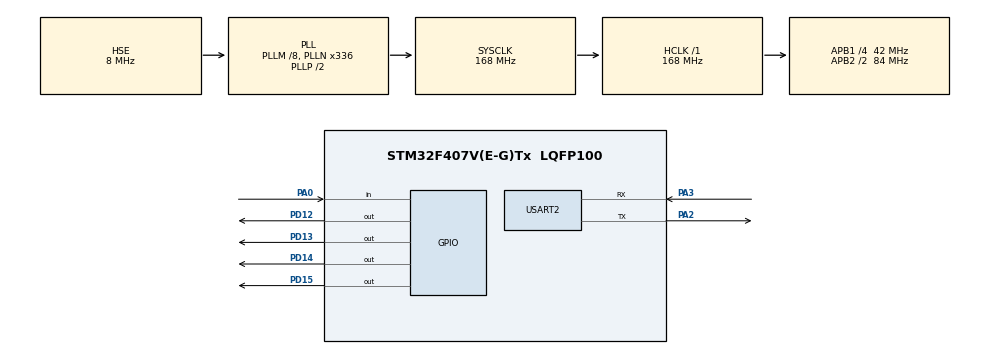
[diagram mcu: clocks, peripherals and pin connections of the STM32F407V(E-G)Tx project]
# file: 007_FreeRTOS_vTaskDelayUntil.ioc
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FREERTOS.Tasks01=defaultTask,24,128,StartDefaultTask,Default,NULL,Dynamic,NULL,NULL
FREERTOS.configUSE_NEWLIB_REENTRANT=1
Mcu.Family=STM32F4
Mcu.Name=STM32F407V(E-G)Tx
Mcu.Package=LQFP100
NVIC.PriorityGroup=NVIC_PRIORITYGROUP_4
NVIC.TIM8_TRG_COM_TIM14_IRQn=true\:15\:0\:false\:false\:true\:false\:false\:true\:true
NVIC.TimeBase=TIM8_TRG_COM_TIM14_IRQn
NVIC.TimeBaseIP=TIM14
PA0-WKUP.Signal=GPIO_Input
PA2.Mode=Asynchronous
PA2.Signal=USART2_TX
PA3.Mode=Asynchronous
PA3.Signal=USART2_RX
PD12.Signal=GPIO_Output
PD13.Signal=GPIO_Output
PD14.Signal=GPIO_Output
PD15.Signal=GPIO_Output
PH0-OSC_IN.Mode=HSE-External-Oscillator
PH0-OSC_IN.Signal=RCC_OSC_IN
PH1-OSC_OUT.Mode=HSE-External-Oscillator
PH1-OSC_OUT.Signal=RCC_OSC_OUT
ProjectManager.HeapSize=0x200
ProjectManager.StackSize=0x400
ProjectManager.TargetToolchain=STM32CubeIDE
RCC.48MHZClocksFreq_Value=48000000
RCC.AHBFreq_Value=168000000
RCC.APB1CLKDivider=RCC_HCLK_DIV4
RCC.APB1Freq_Value=42000000
RCC.APB1TimFreq_Value=84000000
RCC.APB2CLKDivider=RCC_HCLK_DIV2
RCC.APB2Freq_Value=84000000
RCC.APB2TimFreq_Value=168000000
RCC.CortexFreq_Value=168000000
RCC.HCLKFreq_Value=168000000
RCC.HSE_VALUE=8000000
RCC.HSI_VALUE=16000000
RCC.LSE_VALUE=32768
RCC.PLLM=8
RCC.PLLN=336
RCC.PLLQ=7
RCC.PLLSourceVirtual=RCC_PLLSOURCE_HSE
RCC.SYSCLKFreq_VALUE=168000000
RCC.SYSCLKSource=RCC_SYSCLKSOURCE_PLLCLK
RCC.VCOOutputFreq_Value=336000000
USART2.VirtualMode=VM_ASYNC
VP_FREERTOS_VS_CMSIS_V2.Mode=CMSIS_V2
VP_SYS_VS_tim14.Mode=TIM14
board=STM32F407G-DISC1

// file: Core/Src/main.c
/* USER CODE BEGIN Header */
/**
  ******************************************************************************
  * @file           : main.c
  * @brief          : Main program body
  ******************************************************************************
  * @attention
  *
  * Copyright (c) 2023 STMicroelectronics.
  * All rights reserved.
  *
  * This software is licensed under terms that can be found in the LICENSE file
  * in the root directory of this software component.
  * If no LICENSE file comes with this software, it is provided AS-IS.
  *
  ******************************************************************************
  */
/* USER CODE END Header */
#include "main.h"
#include "cmsis_os.h"

/* USER CODE BEGIN Includes */
#include "FreeRTOS.h"
#include "task.h"
/* USER CODE END Includes */

UART_HandleTypeDef huart2;

/* Definitions for defaultTask */
//osThreadId_t defaultTaskHandle;
//const osThreadAttr_t defaultTask_attributes = {
//  .name = "defaultTask",
//  .stack_size = 128 * 4,
//  .priority = (osPriority_t) osPriorityNormal,
//};

void SystemClock_Config(void);
static void MX_GPIO_Init(void);
static void MX_USART2_UART_Init(void);
void StartDefaultTask(void *argument);

/* USER CODE BEGIN 0 */
void vTask2(void * pvParameters)
{
	char *GorevAdi = (char *) pvParameters;
	TickType_t xLastWakeTime;
	xLastWakeTime = xTaskGetTickCount();
	for(;;)
	{
		HAL_UART_Transmit(&huart2, (uint8_t *)GorevAdi, 19, 0xFFFF);
		vTaskDelayUntil(&xLastWakeTime, pdMS_TO_TICKS(250));
	}
}
void vTask1(void * pvParameters)
{
	char *GorevAdi = (char *)pvParameters;
	const TickType_t xDelay250ms = pdMS_TO_TICKS(250);
	for(;;)
	{
		HAL_UART_Transmit(&huart2, (uint8_t *)GorevAdi, 19, 0xFFFF);
		vTaskDelay(xDelay250ms);
	}
}

/* USER CODE END 0 */

int main(void)
{
  /* USER CODE BEGIN 1 */
  static const char *Gorev1Metin = "Gorev 1 calisiyor\r\n";
  static const char *Gorev2Metin = "Gorev 2 calisiyor\r\n";
  /* USER CODE END 1 */

  /* MCU Configuration--------------------------------------------------------*/

  /* Reset of all peripherals, Initializes the Flash interface and the Systick. */
  HAL_Init();

  /* Configure the system clock */
  SystemClock_Config();

  /* Initialize all configured peripherals */
  MX_GPIO_Init();
  MX_USART2_UART_Init();
  /* USER CODE BEGIN 2 */
  xTaskCreate(vTask1, "Task 1", configMINIMAL_STACK_SIZE, (void*)Gorev1Metin, 1, NULL);
  xTaskCreate(vTask2, "Task 2", configMINIMAL_STACK_SIZE, (void*)Gorev2Metin, 2, NULL);
  vTaskStartScheduler();
  /* USER CODE END 2 */

  /* Init scheduler */
  //osKernelInitialize();

  /* Create the thread(s) */
  /* creation of defaultTask */
  //defaultTaskHandle = osThreadNew(StartDefaultTask, NULL, &defaultTask_attributes);

  /* Start scheduler */
  //osKernelStart();
  /* We should never get here as control is now taken by the scheduler */
  /* Infinite loop */
  while (1)
  {

  }
}

void SystemClock_Config(void)
{
  RCC_OscInitTypeDef RCC_OscInitStruct = {0};
  RCC_ClkInitTypeDef RCC_ClkInitStruct = {0};

  /** Configure the main internal regulator output voltage
  */
  __HAL_RCC_PWR_CLK_ENABLE();
  __HAL_PWR_VOLTAGESCALING_CONFIG(PWR_REGULATOR_VOLTAGE_SCALE1);

  /** Initializes the RCC Oscillators according to the specified parameters
  * in the RCC_OscInitTypeDef structure.
  */
  RCC_OscInitStruct.OscillatorType = RCC_OSCILLATORTYPE_HSE;
  RCC_OscInitStruct.HSEState = RCC_HSE_ON;
  RCC_OscInitStruct.PLL.PLLState = RCC_PLL_ON;
  RCC_OscInitStruct.PLL.PLLSource = RCC_PLLSOURCE_HSE;
  RCC_OscInitStruct.PLL.PLLM = 8;
  RCC_OscInitStruct.PLL.PLLN = 336;
  RCC_OscInitStruct.PLL.PLLP = RCC_PLLP_DIV2;
  RCC_OscInitStruct.PLL.PLLQ = 7;
  if (HAL_RCC_OscConfig(&RCC_OscInitStruct) != HAL_OK)
  {
    Error_Handler();
  }

  /** Initializes the CPU, AHB and APB buses clocks
  */
  RCC_ClkInitStruct.ClockType = RCC_CLOCKTYPE_HCLK|RCC_CLOCKTYPE_SYSCLK
                              |RCC_CLOCKTYPE_PCLK1|RCC_CLOCKTYPE_PCLK2;
  RCC_ClkInitStruct.SYSCLKSource = RCC_SYSCLKSOURCE_PLLCLK;
  RCC_ClkInitStruct.AHBCLKDivider = RCC_SYSCLK_DIV1;
  RCC_ClkInitStruct.APB1CLKDivider = RCC_HCLK_DIV4;
  RCC_ClkInitStruct.APB2CLKDivider = RCC_HCLK_DIV2;

  if (HAL_RCC_ClockConfig(&RCC_ClkInitStruct, FLASH_LATENCY_5) != HAL_OK)
  {
    Error_Handler();
  }
}

static void MX_USART2_UART_Init(void)
{

  huart2.Instance = USART2;
  huart2.Init.BaudRate = 115200;
  huart2.Init.WordLength = UART_WORDLENGTH_8B;
  huart2.Init.StopBits = UART_STOPBITS_1;
  huart2.Init.Parity = UART_PARITY_NONE;
  huart2.Init.Mode = UART_MODE_TX_RX;
  huart2.Init.HwFlowCtl = UART_HWCONTROL_NONE;
  huart2.Init.OverSampling = UART_OVERSAMPLING_16;
  if (HAL_UART_Init(&huart2) != HAL_OK)
  {
    Error_Handler();
  }

}

static void MX_GPIO_Init(void)
{
  GPIO_InitTypeDef GPIO_InitStruct = {0};

  /* GPIO Ports Clock Enable */
  __HAL_RCC_GPIOH_CLK_ENABLE();
  __HAL_RCC_GPIOA_CLK_ENABLE();
  __HAL_RCC_GPIOD_CLK_ENABLE();

  /*Configure GPIO pin Output Level */
  HAL_GPIO_WritePin(GPIOD, GPIO_PIN_12|GPIO_PIN_13|GPIO_PIN_14|GPIO_PIN_15, GPIO_PIN_RESET);

  /*Configure GPIO pin : PA0 */
  GPIO_InitStruct.Pin = GPIO_PIN_0;
  GPIO_InitStruct.Mode = GPIO_MODE_INPUT;
  GPIO_InitStruct.Pull = GPIO_NOPULL;
  HAL_GPIO_Init(GPIOA, &GPIO_InitStruct);

  /*Configure GPIO pins : PD12 PD13 PD14 PD15 */
  GPIO_InitStruct.Pin = GPIO_PIN_12|GPIO_PIN_13|GPIO_PIN_14|GPIO_PIN_15;
  GPIO_InitStruct.Mode = GPIO_MODE_OUTPUT_PP;
  GPIO_InitStruct.Pull = GPIO_NOPULL;
  GPIO_InitStruct.Speed = GPIO_SPEED_FREQ_LOW;
  HAL_GPIO_Init(GPIOD, &GPIO_InitStruct);

}

void StartDefaultTask(void *argument)
{
  for(;;)
  {
    osDelay(1);
  }
}

void HAL_TIM_PeriodElapsedCallback(TIM_HandleTypeDef *htim)
{
  if (htim->Instance == TIM14) {
    HAL_IncTick();
  }
}

void Error_Handler(void)
{
  __disable_irq();
  while (1)
  {
  }
}
